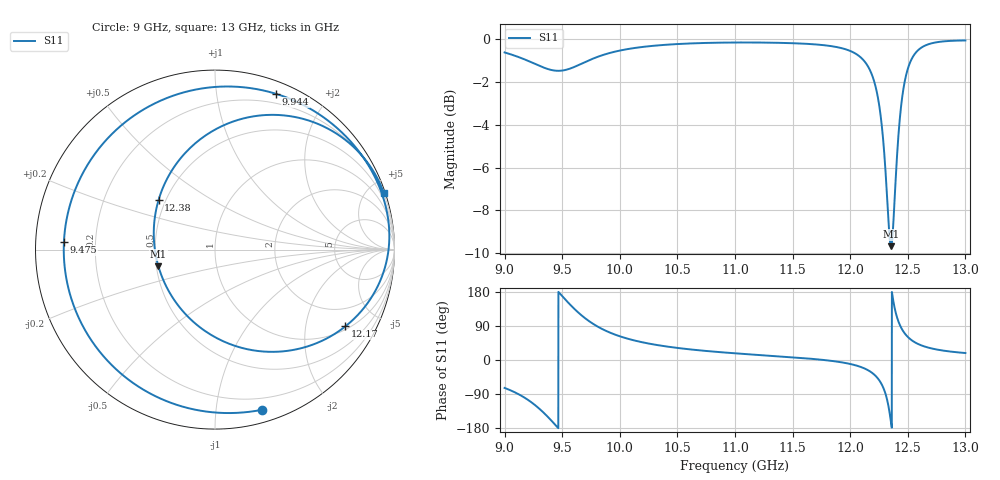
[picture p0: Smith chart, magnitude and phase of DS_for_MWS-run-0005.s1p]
! TOUCHSTONE file generated by CST DESIGN STUDIO
! Date and time: Tue Feb  4 13:25:46 2025
! Project name: C:\Work\MatlabApps\UnitCellOptimizationMatlab\CST\unitcell.cst
! Tree item: Tasks\Sweep1\SPara1\S-Parameters
! Header version: 2024
! Port assignment regex: !\s*Touchstone port\s*([0-9]+)\s*=\s*(CST MWS port|CST DES external port|CST DES block port)\s*(.+)\s* \(\"(.*)\"\)(\s*mode\s*([0-9]+))?.*
! Touchstone port assignment:
! Touchstone port 1 = CST DES external port 1 ("")
# GHz S MA R 50
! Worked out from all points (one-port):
!   4001 points, 9 GHz to 13 GHz, reference 50 ohm
!   lowest |S11| = -9.7 dB at 12.35 GHz (marker M1), VSWR 1.98, Z = 25.6 - j5.33 ohm
!   |S11| at or under -10 dB: nowhere
!   S11 on the Smith chart (normalised r, x): 9 GHz: 0.10, -1.33; 9.475 GHz: 0.09, +0.03; 9.944 GHz: 0.11, +1.46; 12.17 GHz: 1.12, -3.32; 12.38 GHz: 0.46, +0.31; 13 GHz: 0.16, +6.17
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9  0.93 -73.7
9.151  0.9009 -95.3
9.261  0.8753 -118.2
9.384  0.8494 -152.8
9.475  0.8427 177.0
9.5  0.8438 168.6
9.6  0.8593 136.5
9.693  0.8818 111.6
9.799  0.9066 89.7
9.944  0.932 68.7
10  0.9394 62.6
10.214  0.959 45.6
10.5  0.9728 31.9
11  0.981 17.7
11.5  0.9773 7.1
12  0.9375 -10.5
12.174  0.843 -30.5
12.233  0.7477 -46.0
12.286  0.5825 -72.2
12.32  0.4287 -104.2
12.354  0.3287 -163.6
12.385  0.4196 138.4
12.411  0.557 108.2
12.436  0.6739 89.1
12.5  0.8514 60.9
12.569  0.9288 45.4
12.661  0.9678 34.1
13  0.9918 18.4
